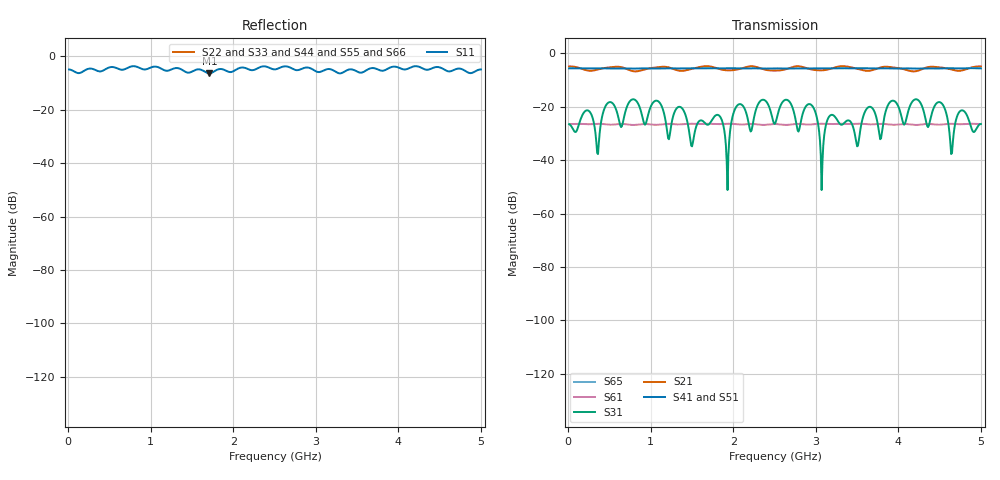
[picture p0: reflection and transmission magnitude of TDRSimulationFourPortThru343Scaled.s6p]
# MHz MA S R 50.0
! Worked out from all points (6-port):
!   500 points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, 10 MHz to 5 GHz, reference 50 ohm
!   strongest paths, dB at 10 MHz, 1.26 GHz, 2.51 GHz, 3.76 GHz, 5 GHz:
!     S41: -5.6, -5.6, -5.6, -5.6, -5.6
!     S21: -4.9, -5.7, -6.4, -5.5, -4.9
!     S51: -5.6, -5.6, -5.6, -5.6, -5.6
!     S31: -26.5, -24.9, -26.0, -28.4, -26.4
!     S61: -26.4, -26.5, -26.4, -26.4, -26.4
!     S65: -, -, -, -, -
!   lowest |S11| = -6.3 dB at 1.71 GHz (marker M1), VSWR 2.86, Z = 122 - j46.9 ohm
!   |S11| at or under -10 dB: nowhere
